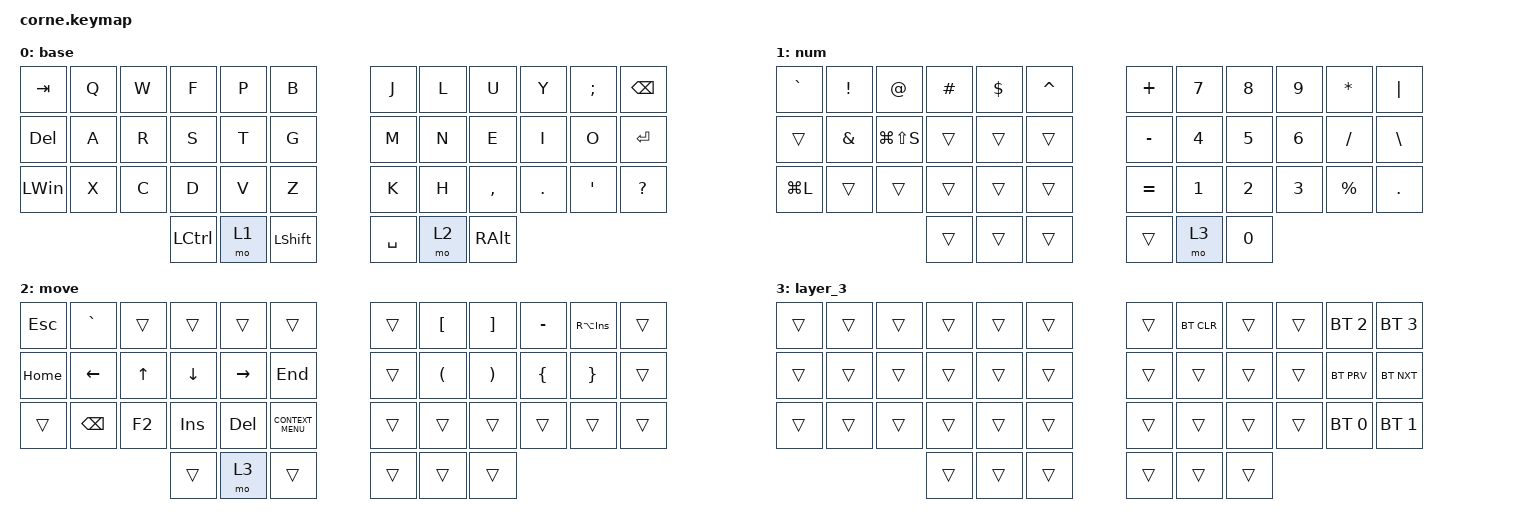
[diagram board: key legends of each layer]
/*
 * Copyright (c) 2020 The ZMK Contributors
 *
 * SPDX-License-Identifier: MIT
 */

#include <behaviors.dtsi>
#include <dt-bindings/zmk/bt.h>
#include <dt-bindings/zmk/keys.h>

/ {
    macros {
        pw_ste: pw_ste {
            compatible = "zmk,behavior-macro";
            #binding-cells = <0>;
            bindings = <&kp LS(D) &kp E &kp A &kp D &kp P &kp O &kp O &kp L &kp LS(K) &kp N &kp O &kp W &kp S &kp LS(K) &kp N &kp I &kp V &kp N3 &kp N5 &kp EXCL>;
            label = "PW_STE";
        };
    };

    combos {
        compatible = "zmk,combos";

        secret {
            bindings = <&pw_ste>;
            key-positions = <18 20 40>;
        };
    };

    keymap {
        compatible = "zmk,keymap";

        base {
            bindings = <
&kp TAB       &kp Q  &kp W  &kp F      &kp P  &kp B             &kp J      &kp L  &kp U          &kp Y       &kp SEMICOLON  &kp BACKSPACE
&kp DELETE    &kp A  &kp R  &kp S      &kp T  &kp G             &kp M      &kp N  &kp E          &kp I       &kp O          &kp RETURN
&kp LEFT_WIN  &kp X  &kp C  &kp D      &kp V  &kp Z             &kp K      &kp H  &kp COMMA      &kp PERIOD  &kp SQT        &kp QUESTION
                            &kp LCTRL  &mo 1  &kp LEFT_SHIFT    &kp SPACE  &mo 2  &kp RIGHT_ALT
            >;
        };

        num {
            bindings = <
&kp GRAVE  &kp EXCL       &kp AT_SIGN    &kp HASH  &kp DOLLAR  &kp CARET    &kp PLUS   &kp N7  &kp N8  &kp N9        &kp ASTERISK  &kp PIPE
&trans     &kp AMPERSAND  &kp LG(LS(S))  &trans    &trans      &trans       &kp MINUS  &kp N4  &kp N5  &kp N6        &kp SLASH     &kp BACKSLASH
&kp LG(L)  &trans         &trans         &trans    &trans      &trans       &kp EQUAL  &kp N1  &kp N2  &kp NUMBER_3  &kp PERCENT   &kp PERIOD
                                         &trans    &trans      &trans       &trans     &mo 3   &kp N0
            >;
        };

        move {
            bindings = <
&kp ESC   &kp GRAVE       &trans        &trans          &trans           &trans                &trans  &kp LEFT_BRACKET      &kp RIGHT_BRACKET      &kp MINUS       &kp RA(INSERT)   &trans
&kp HOME  &kp LEFT_ARROW  &kp UP_ARROW  &kp DOWN_ARROW  &kp RIGHT_ARROW  &kp END               &trans  &kp LEFT_PARENTHESIS  &kp RIGHT_PARENTHESIS  &kp LEFT_BRACE  &kp RIGHT_BRACE  &trans
&trans    &kp BACKSPACE   &kp F2        &kp INSERT      &kp DEL          &kp K_CONTEXT_MENU    &trans  &trans                &trans                 &trans          &trans           &trans
                                        &trans          &mo 3            &trans                &trans  &trans                &trans
            >;
        };

        layer_3 {
            bindings = <
&trans  &trans  &trans  &trans  &trans  &trans    &trans  &bt BT_CLR  &trans  &trans  &bt BT_SEL 2  &bt BT_SEL 3
&trans  &trans  &trans  &trans  &trans  &trans    &trans  &trans      &trans  &trans  &bt BT_PRV    &bt BT_NXT
&trans  &trans  &trans  &trans  &trans  &trans    &trans  &trans      &trans  &trans  &bt BT_SEL 0  &bt BT_SEL 1
                        &trans  &trans  &trans    &trans  &trans      &trans
            >;
        };
    };
};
